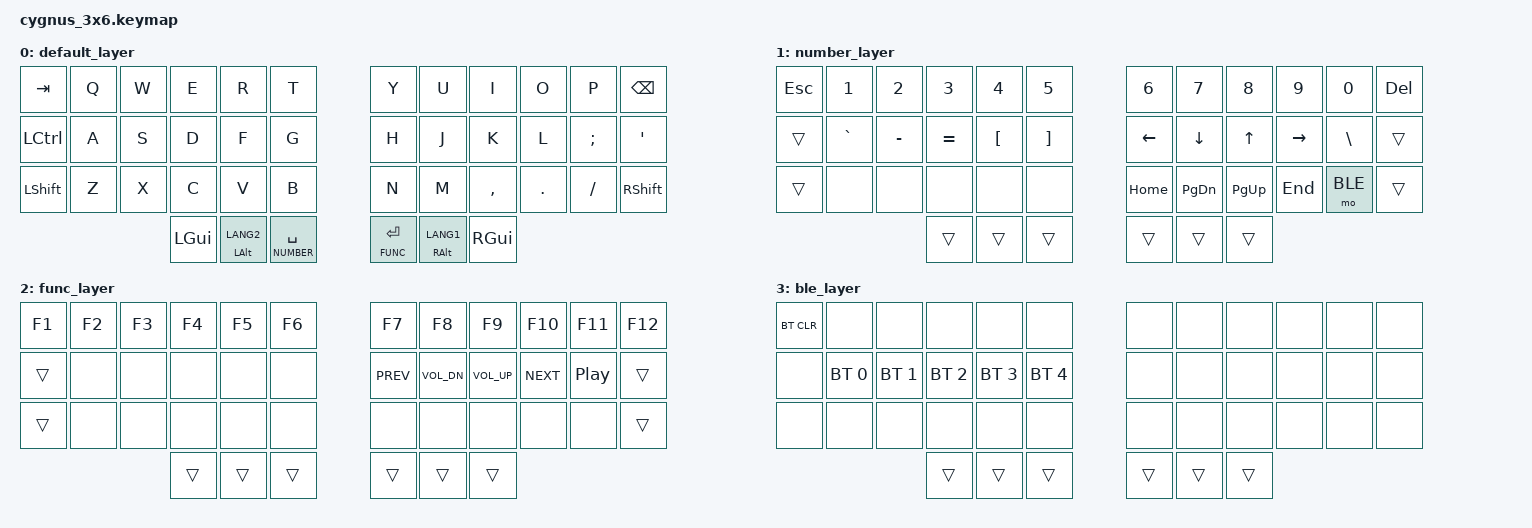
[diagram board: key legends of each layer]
#include <behaviors.dtsi>
#include <dt-bindings/zmk/keys.h>
#include <dt-bindings/zmk/bt.h>

#define DEFAULT 0
#define NUMBER  1
#define FUNC    2
#define BLE     3

/ {
    keymap {
        compatible = "zmk,keymap";

        // 0: デフォルト（Corne風 3x6）
        default_layer {
            bindings = <
                &kp TAB    &kp Q  &kp W  &kp E  &kp R  &kp T            &kp Y  &kp U  &kp I     &kp O   &kp P     &kp BSPC
                &kp LCTRL  &kp A  &kp S  &kp D  &kp F  &kp G            &kp H  &kp J  &kp K     &kp L   &kp SEMI  &kp SQT
                &kp LSHFT  &kp Z  &kp X  &kp C  &kp V  &kp B            &kp N  &kp M  &kp COMMA &kp DOT &kp FSLH  &kp RSHFT
                                    &kp LGUI &mt LALT LANG2 &lt NUMBER SPACE    &lt FUNC ENTER &mt RALT LANG1 &kp RGUI
            >;
        };

        // 1: 数字・記号（左親指ホールド）
        number_layer {
            bindings = <
                &kp ESC    &kp N1    &kp N2    &kp N3    &kp N4    &kp N5          &kp N6    &kp N7    &kp N8    &kp N9    &kp N0    &kp DEL
                &trans     &kp GRAVE &kp MINUS &kp EQUAL &kp LBKT  &kp RBKT        &kp LEFT  &kp DOWN  &kp UP    &kp RIGHT &kp BSLH  &trans
                &trans     &none     &none     &none     &none     &none           &kp HOME  &kp PG_DN &kp PG_UP &kp END   &mo BLE   &trans
                                    &trans    &trans    &trans                           &trans    &trans    &trans
            >;
        };

        // 2: ファンクション・メディア（右親指ホールド）
        func_layer {
            bindings = <
                &kp F1     &kp F2   &kp F3   &kp F4   &kp F5   &kp F6          &kp F7      &kp F8       &kp F9      &kp F10     &kp F11    &kp F12
                &trans     &none    &none    &none    &none    &none           &kp C_PREV  &kp C_VOL_DN &kp C_VOL_UP &kp C_NEXT &kp C_PP   &trans
                &trans     &none    &none    &none    &none    &none           &none       &none        &none       &none       &none      &trans
                                    &trans   &trans   &trans                         &trans      &trans       &trans
            >;
        };

        // 3: BLE（NUMBERレイヤー上の &mo BLE から）
        ble_layer {
            bindings = <
                &bt BT_CLR &none        &none        &none        &none        &none           &none &none &none &none &none &none
                &none      &bt BT_SEL 0 &bt BT_SEL 1 &bt BT_SEL 2 &bt BT_SEL 3 &bt BT_SEL 4   &none &none &none &none &none &none
                &none      &none        &none        &none        &none        &none           &none &none &none &none &none &none
                                    &trans       &trans       &trans                         &trans &trans &trans
            >;
        };
    };
};
